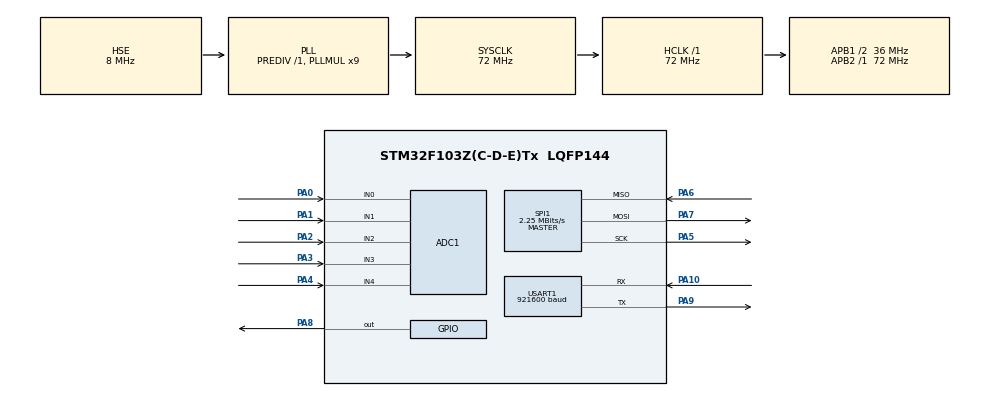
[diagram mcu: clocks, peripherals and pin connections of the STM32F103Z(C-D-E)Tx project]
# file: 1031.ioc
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ADC1.Channel-3\#ChannelRegularConversion=ADC_CHANNEL_1
ADC1.NbrOfConversionFlag=1
ADC1.Rank-3\#ChannelRegularConversion=1
ADC1.SamplingTime-3\#ChannelRegularConversion=ADC_SAMPLETIME_1CYCLE_5
ADC1.master=1
Dma.ADC1.4.Direction=DMA_PERIPH_TO_MEMORY
Dma.ADC1.4.Instance=DMA1_Channel1
Dma.ADC1.4.MemDataAlignment=DMA_MDATAALIGN_HALFWORD
Dma.ADC1.4.MemInc=DMA_MINC_ENABLE
Dma.ADC1.4.Mode=DMA_CIRCULAR
Dma.ADC1.4.PeriphDataAlignment=DMA_PDATAALIGN_HALFWORD
Dma.ADC1.4.PeriphInc=DMA_PINC_DISABLE
Dma.ADC1.4.Priority=DMA_PRIORITY_LOW
Dma.Request0=USART1_RX
Dma.Request1=USART1_TX
Dma.Request2=SPI1_RX
Dma.Request3=SPI1_TX
Dma.Request4=ADC1
Dma.SPI1_RX.2.Direction=DMA_PERIPH_TO_MEMORY
Dma.SPI1_RX.2.Instance=DMA1_Channel2
Dma.SPI1_RX.2.MemDataAlignment=DMA_MDATAALIGN_BYTE
Dma.SPI1_RX.2.MemInc=DMA_MINC_ENABLE
Dma.SPI1_RX.2.Mode=DMA_NORMAL
Dma.SPI1_RX.2.PeriphDataAlignment=DMA_PDATAALIGN_BYTE
Dma.SPI1_RX.2.PeriphInc=DMA_PINC_DISABLE
Dma.SPI1_RX.2.Priority=DMA_PRIORITY_LOW
Dma.SPI1_TX.3.Direction=DMA_MEMORY_TO_PERIPH
Dma.SPI1_TX.3.Instance=DMA1_Channel3
Dma.SPI1_TX.3.MemDataAlignment=DMA_MDATAALIGN_BYTE
Dma.SPI1_TX.3.MemInc=DMA_MINC_ENABLE
Dma.SPI1_TX.3.Mode=DMA_NORMAL
Dma.SPI1_TX.3.PeriphDataAlignment=DMA_PDATAALIGN_BYTE
Dma.SPI1_TX.3.PeriphInc=DMA_PINC_DISABLE
Dma.SPI1_TX.3.Priority=DMA_PRIORITY_LOW
Dma.USART1_RX.0.Direction=DMA_PERIPH_TO_MEMORY
Dma.USART1_RX.0.Instance=DMA1_Channel5
Dma.USART1_RX.0.MemDataAlignment=DMA_MDATAALIGN_BYTE
Dma.USART1_RX.0.MemInc=DMA_MINC_ENABLE
Dma.USART1_RX.0.Mode=DMA_NORMAL
Dma.USART1_RX.0.PeriphDataAlignment=DMA_PDATAALIGN_BYTE
Dma.USART1_RX.0.PeriphInc=DMA_PINC_DISABLE
Dma.USART1_RX.0.Priority=DMA_PRIORITY_LOW
Dma.USART1_TX.1.Direction=DMA_MEMORY_TO_PERIPH
Dma.USART1_TX.1.Instance=DMA1_Channel4
Dma.USART1_TX.1.MemDataAlignment=DMA_MDATAALIGN_BYTE
Dma.USART1_TX.1.MemInc=DMA_MINC_ENABLE
Dma.USART1_TX.1.Mode=DMA_NORMAL
Dma.USART1_TX.1.PeriphDataAlignment=DMA_PDATAALIGN_BYTE
Dma.USART1_TX.1.PeriphInc=DMA_PINC_DISABLE
Dma.USART1_TX.1.Priority=DMA_PRIORITY_LOW
Mcu.Family=STM32F1
Mcu.Name=STM32F103Z(C-D-E)Tx
Mcu.Package=LQFP144
NVIC.DMA1_Channel1_IRQn=true\:0\:0\:false\:false\:true\:false
NVIC.DMA1_Channel2_IRQn=true\:0\:0\:false\:false\:true\:false
NVIC.DMA1_Channel3_IRQn=true\:0\:0\:false\:false\:true\:false
NVIC.DMA1_Channel4_IRQn=true\:0\:0\:false\:false\:true\:false
NVIC.DMA1_Channel5_IRQn=true\:0\:0\:false\:false\:true\:false
NVIC.PriorityGroup=NVIC_PRIORITYGROUP_4
NVIC.SPI1_IRQn=true\:0\:0\:false\:false\:true\:true
NVIC.USART1_IRQn=true\:0\:0\:false\:false\:true\:true
OSC_IN.Mode=HSE-External-Oscillator
OSC_IN.Signal=RCC_OSC_IN
OSC_OUT.Mode=HSE-External-Oscillator
OSC_OUT.Signal=RCC_OSC_OUT
PA0-WKUP.Signal=ADCx_IN0
PA1.Signal=ADCx_IN1
PA10.Mode=Asynchronous
PA10.Signal=USART1_RX
PA13.Mode=Trace_Asynchronous_SW
PA13.Signal=SYS_JTMS-SWDIO
PA14.Mode=Trace_Asynchronous_SW
PA14.Signal=SYS_JTCK-SWCLK
PA2.Signal=ADCx_IN2
PA3.Signal=ADCx_IN3
PA4.Signal=ADCx_IN4
PA5.Mode=Full_Duplex_Master
PA5.Signal=SPI1_SCK
PA6.Mode=Full_Duplex_Master
PA6.Signal=SPI1_MISO
PA7.Mode=Full_Duplex_Master
PA7.Signal=SPI1_MOSI
PA8.Signal=GPIO_Output
PA9.Mode=Asynchronous
PA9.Signal=USART1_TX
PB3.Mode=Trace_Asynchronous_SW
PB3.Signal=SYS_JTDO-TRACESWO
ProjectManager.HeapSize=0x200
ProjectManager.StackSize=0x400
ProjectManager.TargetToolchain=MDK-ARM V5
RCC.ADCPresc=RCC_ADCPCLK2_DIV6
RCC.AHBFreq_Value=72000000
RCC.APB1CLKDivider=RCC_HCLK_DIV2
RCC.APB1Freq_Value=36000000
RCC.APB1TimFreq_Value=72000000
RCC.APB2Freq_Value=72000000
RCC.APB2TimFreq_Value=72000000
RCC.HCLKFreq_Value=72000000
RCC.PLLMUL=RCC_PLL_MUL9
RCC.PLLSourceVirtual=RCC_PLLSOURCE_HSE
RCC.SYSCLKFreq_VALUE=72000000
RCC.SYSCLKSource=RCC_SYSCLKSOURCE_PLLCLK
RCC.USBFreq_Value=72000000
SH.ADCx_IN0.0=ADC1_IN0,IN0
SH.ADCx_IN1.0=ADC1_IN1,IN1
SH.ADCx_IN2.0=ADC1_IN2,IN2
SH.ADCx_IN3.0=ADC1_IN3,IN3
SH.ADCx_IN4.0=ADC1_IN4,IN4
SPI1.BaudRatePrescaler=SPI_BAUDRATEPRESCALER_32
SPI1.CLKPhase=SPI_PHASE_2EDGE
SPI1.CLKPolarity=SPI_POLARITY_HIGH
SPI1.CalculateBaudRate=2.25 MBits/s
SPI1.Direction=SPI_DIRECTION_2LINES
SPI1.FirstBit=SPI_FIRSTBIT_MSB
SPI1.Mode=SPI_MODE_MASTER
SPI1.VirtualType=VM_MASTER
STMicroelectronics.X-CUBE-MEMS1.5.2.1.BoardOoComponentJjMEMS.apiComponent0=Board Extension\:IKS01A2
STMicroelectronics.X-CUBE-MEMS1.5.2.1.BoardOoComponentJjMEMS.apiDoc0=Documentation/X_CUBE_MEMS1.chm
STMicroelectronics.X-CUBE-MEMS1.5.2.1.BoardOoComponentJjMEMS.cmp_version0=5.2.1
STMicroelectronics.X-CUBE-MEMS1.5.2.1.BoardOoComponentJjMEMS.component0=Board Component
STMicroelectronics.X-CUBE-MEMS1.5.2.1.BoardOoComponentJjMEMS.description0=MEMS library for custom boards,LSM6DSL component driver
STMicroelectronics.X-CUBE-MEMS1.5.2.1.BoardOoComponentJjMEMS.diagnostic0=This component should operate correctly.
STMicroelectronics.X-CUBE-MEMS1.5.2.1.BoardOoComponentJjMEMS.documentation0=Documentation/STMicroelectronics.X-CUBE-MEMS1_GettingStarted.pdf
STMicroelectronics.X-CUBE-MEMS1.5.2.1.BoardOoComponentJjMEMS.group0=AccGyr
STMicroelectronics.X-CUBE-MEMS1.5.2.1.BoardOoComponentJjMEMS.paramName0=MEMSCcBoardOoComponentJjAccGyrJjLSM6DSL
STMicroelectronics.X-CUBE-MEMS1.5.2.1.BoardOoComponentJjMEMS.sevirity0=none
STMicroelectronics.X-CUBE-MEMS1.5.2.1.BoardOoComponentJjMEMS.sub-group0=LSM6DSL
STMicroelectronics.X-CUBE-MEMS1.5.2.1.BoardOoComponentJjMEMS.variant0=SPI
STMicroelectronics.X-CUBE-MEMS1.5.2.1.BoardOoComponentJjMEMS_apiSize=1
STMicroelectronics.X-CUBE-MEMS1.5.2.1.BoardOoComponentJjMEMS_bundle=MEMS
STMicroelectronics.X-CUBE-MEMS1.5.2.1.BoardOoComponentJjMEMS_class=BoardOoComponent
STMicroelectronics.X-CUBE-MEMS1.5.2.1.BoardOoComponentJjMEMS_name=X-CUBE-MEMS1
STMicroelectronics.X-CUBE-MEMS1.5.2.1.BoardOoComponentJjMEMS_size=1
STMicroelectronics.X-CUBE-MEMS1.5.2.1.BoardOoComponentJjMEMS_vendor=STMicroelectronics
STMicroelectronics.X-CUBE-MEMS1.5.2.1.BoardOoComponentJjMEMS_version=5.2.1
STMicroelectronics.X-CUBE-MEMS1.5.2.1.MEMSCcBoardOoComponentJjAccGyrJjLSM6DSL=SPI
STMicroelectronics.X-CUBE-MEMS1.5.2.1_BoardOoComponentJjMEMS_RteComponent0=\#define LSM6DSL_ACCGYR_SPI
STMicroelectronics.X-CUBE-MEMS1.5.2.1_BoardOoComponentJjMEMS_RteComponentsize=1
STMicroelectronics.X-CUBE-MEMS1.5.2.1_BoardOoExtensionJjMEMS_RteComponentsize=0
STMicroelectronics.X-CUBE-MEMS1.5.2.1_BoardOoSupportJjSTM32CubeIiCustomIiBSPIiDrivers_RteComponentsize=0
STMicroelectronics.X-CUBE-MEMS1.5.2.1_DeviceJjApplication_RteComponentsize=0
STMicroelectronics.X-CUBE-MEMS1.5.2.1_description=Drivers and sample applications for MEMS components
STMicroelectronics.X-CUBE-MEMS1.5.2.1_license=en.DM00367782.pdf
USART1.BaudRate=921600
USART1.VirtualMode=VM_ASYNC
board=custom

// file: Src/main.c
/* USER CODE BEGIN Header */
/**
  ******************************************************************************
  * @file           : main.c
  * @brief          : Main program body
  ******************************************************************************
  * This notice applies to any and all portions of this file
  * that are not between comment pairs USER CODE BEGIN and
  * USER CODE END. Other portions of this file, whether
  * inserted by the user or by software development tools
  * are owned by their respective copyright owners.
  *
  * Copyright (c) 2019 STMicroelectronics International N.V.
  * All rights reserved.
  *
  * Redistribution and use in source and binary forms, with or without
  * modification, are permitted, provided that the following conditions are met:
  *
  * 1. Redistribution of source code must retain the above copyright notice,
  *    this list of conditions and the following disclaimer.
  * 2. Redistributions in binary form must reproduce the above copyright notice,
  *    this list of conditions and the following disclaimer in the documentation
  *    and/or other materials provided with the distribution.
  * 3. Neither the name of STMicroelectronics nor the names of other
  *    contributors to this software may be used to endorse or promote products
  *    derived from this software without specific written permission.
  * 4. This software, including modifications and/or derivative works of this
  *    software, must execute solely and exclusively on microcontroller or
  *    microprocessor devices manufactured by or for STMicroelectronics.
  * 5. Redistribution and use of this software other than as permitted under
  *    this license is void and will automatically terminate your rights under
  *    this license.
  *
  * THIS SOFTWARE IS PROVIDED BY STMICROELECTRONICS AND CONTRIBUTORS "AS IS"
  * AND ANY EXPRESS, IMPLIED OR STATUTORY WARRANTIES, INCLUDING, BUT NOT
  * LIMITED TO, THE IMPLIED WARRANTIES OF MERCHANTABILITY, FITNESS FOR A
  * PARTICULAR PURPOSE AND NON-INFRINGEMENT OF THIRD PARTY INTELLECTUAL PROPERTY
  * RIGHTS ARE DISCLAIMED TO THE FULLEST EXTENT PERMITTED BY LAW. IN NO EVENT
  * SHALL STMICROELECTRONICS OR CONTRIBUTORS BE LIABLE FOR ANY DIRECT, INDIRECT,
  * INCIDENTAL, SPECIAL, EXEMPLARY, OR CONSEQUENTIAL DAMAGES (INCLUDING, BUT NOT
  * LIMITED TO, PROCUREMENT OF SUBSTITUTE GOODS OR SERVICES; LOSS OF USE, DATA,
  * OR PROFITS; OR BUSINESS INTERRUPTION) HOWEVER CAUSED AND ON ANY THEORY OF
  * LIABILITY, WHETHER IN CONTRACT, STRICT LIABILITY, OR TORT (INCLUDING
  * NEGLIGENCE OR OTHERWISE) ARISING IN ANY WAY OUT OF THE USE OF THIS SOFTWARE,
  * EVEN IF ADVISED OF THE POSSIBILITY OF SUCH DAMAGE.
  *
  ******************************************************************************
  */
/* USER CODE END Header */

#include "main.h"

/* USER CODE BEGIN Includes */
#include "stdio.h"
#include "string.h"
#include "drv_lsm6dsl.h"
#include <rtthread.h>
#include "led.h"

//#include "mems_conf.h"

/* USER CODE END Includes */

/* USER CODE BEGIN PD */
#define USART1_TRANS_END_EVENT (0x01 << 0)//设置事件掩码的位 0

/* USER CODE END PD */

ADC_HandleTypeDef hadc1;
DMA_HandleTypeDef hdma_adc1;

SPI_HandleTypeDef hspi1;
DMA_HandleTypeDef hdma_spi1_rx;
DMA_HandleTypeDef hdma_spi1_tx;

UART_HandleTypeDef huart1;
DMA_HandleTypeDef hdma_usart1_rx;
DMA_HandleTypeDef hdma_usart1_tx;

/* USER CODE BEGIN PV */
//extern SPI_HandleTypeDef hspi1;

   char str[100];
volatile uint8_t rx_len=0;                            //接收数据长度
volatile uint8_t recv_end_flag=0;                     //接收完成标记位
uint8_t rx_buffer[BUFFER_SIZE]={0},spi_rx_buffer[100],spi_tx_buffer[100];   //接收数据缓存
 long usart1_send_complete_flag=0;
 /* 定义事件控制块(句柄) */
static rt_event_t test_event = RT_NULL;
/* USER CODE END PV */

void SystemClock_Config(void);
static void MX_GPIO_Init(void);
static void MX_DMA_Init(void);
static void MX_USART1_UART_Init(void);
static void MX_SPI1_Init(void);
static void MX_ADC1_Init(void);

/* USER CODE BEGIN 0 */
//void HAL_UART_TxCpltCallback_NORMAL(UART_HandleTypeDef *UartHandle){
////	if(UartHandle == &huart1)
//usart1_send_complete_flag=0;
//}
//void HAL_UART_TxCpltCallback (UART_HandleTypeDef *UartHandle){
////	if(UartHandle == &huart1)
//usart1_send_complete_flag=0;
//}
void HAL_UART_TxCpltCallback(UART_HandleTypeDef *huart)
{
				usart1_send_complete_flag=0;
rt_event_send(test_event,USART1_TRANS_END_EVENT);
}
void DMA_Usart_Send(uint8_t *buf,uint8_t len)//串口发送封装
{
//    while (HAL_DMA_GetState(&hdma_usart1_tx) != HAL_DMA_STATE_READY){}
//      while (0!= usart1_send_complete_flag){}

//    while ((hdma_usart1_tx.Instance->CNDTR)>0);
		rt_uint32_t recved;
HAL_UART_Transmit_DMA(&huart1, buf,len);

	  rt_event_recv(test_event, /* 事件对象句柄 */
  USART1_TRANS_END_EVENT,/* 接收线程感兴趣的事件 */
  RT_EVENT_FLAG_CLEAR,/* 接收选项 */
  RT_WAITING_FOREVER,/* 指定超时事件,一直等 */
  &recved); /* 指向接收到的事件 */
  if (recved == (USART1_TRANS_END_EVENT)) {
        rt_hw_led_on();
		  rt_kprintf("事件接收成功！ \n\n");
	}
	else{
	        rt_hw_led_off();
		  rt_kprintf("事件接受失败！ \n\n");

	}

//      	while (huart1.gState==HAL_UART_STATE_BUSY_TX){;	}
//				usart1_send_complete_flag=1;

}

void HAL_UART_RxCpltCallback(UART_HandleTypeDef *UartHandle){

     HAL_UART_Transmit_DMA(&huart1,rx_buffer,sizeof(rx_buffer)-1);//可以通过DMA把数据发出去

    HAL_UART_Receive_DMA(&huart1, (uint8_t *)rx_buffer, sizeof(rx_buffer)-1);    //重新使能接收
}

/* USER CODE END 0 */

int main(void)
{

  /* MCU Configuration--------------------------------------------------------*/

  /* Reset of all peripherals, Initializes the Flash interface and the Systick. */
  HAL_Init();

  /* Configure the system clock */
  SystemClock_Config();

  /* Initialize all configured peripherals */
  MX_GPIO_Init();
  MX_DMA_Init();
  MX_USART1_UART_Init();
  MX_SPI1_Init();
  MX_ADC1_Init();
  /* USER CODE BEGIN 2 */
HAL_UART_Receive_DMA(&huart1, (uint8_t *)rx_buffer, sizeof(rx_buffer)-1);//qi启动usart receive

//sprintf(str,"begin %d \r\n",1);
//DMA_Usart_Send((uint8_t*)str,30);
//sprintf(str,"begin %d \r\n",2);
//DMA_Usart_Send((uint8_t*)str,30);

//		int16_t alldata[10]={0};

//lsm6dsl_IMU_init();
//long num=0;
  /* USER CODE END 2 */

  /* Infinite loop */
  /* USER CODE BEGIN WHILE */
//  while (1)
  {

//lsm6dsl_get_AllData(alldata);
//sprintf(str,"alldata \t%d\t%d\t%d\t%d\t%d\t%d\t%d\t%ld \r\n",
//		alldata[0],alldata[1],alldata[2],alldata[3],alldata[4],alldata[5],alldata[6],num++);
//DMA_Usart_Send((uint8_t*)str,strlen(str));
//				for(long i=0xfff;i>0;i--);
    /* USER CODE END WHILE */

    /* USER CODE BEGIN 3 */
  }
	/* 创建一个事件 */

  /* USER CODE END 3 */
}

void SystemClock_Config(void)
{
  RCC_OscInitTypeDef RCC_OscInitStruct = {0};
  RCC_ClkInitTypeDef RCC_ClkInitStruct = {0};
  RCC_PeriphCLKInitTypeDef PeriphClkInit = {0};

  /**Initializes the CPU, AHB and APB busses clocks
  */
  RCC_OscInitStruct.OscillatorType = RCC_OSCILLATORTYPE_HSE;
  RCC_OscInitStruct.HSEState = RCC_HSE_ON;
  RCC_OscInitStruct.HSEPredivValue = RCC_HSE_PREDIV_DIV1;
  RCC_OscInitStruct.HSIState = RCC_HSI_ON;
  RCC_OscInitStruct.PLL.PLLState = RCC_PLL_ON;
  RCC_OscInitStruct.PLL.PLLSource = RCC_PLLSOURCE_HSE;
  RCC_OscInitStruct.PLL.PLLMUL = RCC_PLL_MUL9;
  if (HAL_RCC_OscConfig(&RCC_OscInitStruct) != HAL_OK)
  {
    Error_Handler();
  }
  /**Initializes the CPU, AHB and APB busses clocks
  */
  RCC_ClkInitStruct.ClockType = RCC_CLOCKTYPE_HCLK|RCC_CLOCKTYPE_SYSCLK
                              |RCC_CLOCKTYPE_PCLK1|RCC_CLOCKTYPE_PCLK2;
  RCC_ClkInitStruct.SYSCLKSource = RCC_SYSCLKSOURCE_PLLCLK;
  RCC_ClkInitStruct.AHBCLKDivider = RCC_SYSCLK_DIV1;
  RCC_ClkInitStruct.APB1CLKDivider = RCC_HCLK_DIV2;
  RCC_ClkInitStruct.APB2CLKDivider = RCC_HCLK_DIV1;

  if (HAL_RCC_ClockConfig(&RCC_ClkInitStruct, FLASH_LATENCY_2) != HAL_OK)
  {
    Error_Handler();
  }
  PeriphClkInit.PeriphClockSelection = RCC_PERIPHCLK_ADC;
  PeriphClkInit.AdcClockSelection = RCC_ADCPCLK2_DIV6;
  if (HAL_RCCEx_PeriphCLKConfig(&PeriphClkInit) != HAL_OK)
  {
    Error_Handler();
  }
}

static void MX_ADC1_Init(void)
{

  ADC_ChannelConfTypeDef sConfig = {0};

  /**Common config
  */
  hadc1.Instance = ADC1;
  hadc1.Init.ScanConvMode = ADC_SCAN_DISABLE;
  hadc1.Init.ContinuousConvMode = DISABLE;
  hadc1.Init.DiscontinuousConvMode = DISABLE;
  hadc1.Init.ExternalTrigConv = ADC_SOFTWARE_START;
  hadc1.Init.DataAlign = ADC_DATAALIGN_RIGHT;
  hadc1.Init.NbrOfConversion = 1;
  if (HAL_ADC_Init(&hadc1) != HAL_OK)
  {
    Error_Handler();
  }
  /**Configure Regular Channel
  */
  sConfig.Channel = ADC_CHANNEL_1;
  sConfig.Rank = ADC_REGULAR_RANK_1;
  sConfig.SamplingTime = ADC_SAMPLETIME_1CYCLE_5;
  if (HAL_ADC_ConfigChannel(&hadc1, &sConfig) != HAL_OK)
  {
    Error_Handler();
  }

}

static void MX_SPI1_Init(void)
{

  /* SPI1 parameter configuration*/
  hspi1.Instance = SPI1;
  hspi1.Init.Mode = SPI_MODE_MASTER;
  hspi1.Init.Direction = SPI_DIRECTION_2LINES;
  hspi1.Init.DataSize = SPI_DATASIZE_8BIT;
  hspi1.Init.CLKPolarity = SPI_POLARITY_HIGH;
  hspi1.Init.CLKPhase = SPI_PHASE_2EDGE;
  hspi1.Init.NSS = SPI_NSS_SOFT;
  hspi1.Init.BaudRatePrescaler = SPI_BAUDRATEPRESCALER_32;
  hspi1.Init.FirstBit = SPI_FIRSTBIT_MSB;
  hspi1.Init.TIMode = SPI_TIMODE_DISABLE;
  hspi1.Init.CRCCalculation = SPI_CRCCALCULATION_DISABLE;
  hspi1.Init.CRCPolynomial = 10;
  if (HAL_SPI_Init(&hspi1) != HAL_OK)
  {
    Error_Handler();
  }

}

static void MX_USART1_UART_Init(void)
{

  huart1.Instance = USART1;
  huart1.Init.BaudRate = 921600;
  huart1.Init.WordLength = UART_WORDLENGTH_8B;
  huart1.Init.StopBits = UART_STOPBITS_1;
  huart1.Init.Parity = UART_PARITY_NONE;
  huart1.Init.Mode = UART_MODE_TX_RX;
  huart1.Init.HwFlowCtl = UART_HWCONTROL_NONE;
  huart1.Init.OverSampling = UART_OVERSAMPLING_16;
  if (HAL_UART_Init(&huart1) != HAL_OK)
  {
    Error_Handler();
  }

}

static void MX_DMA_Init(void)
{
  /* DMA controller clock enable */
  __HAL_RCC_DMA1_CLK_ENABLE();

  /* DMA interrupt init */
  /* DMA1_Channel1_IRQn interrupt configuration */
  HAL_NVIC_SetPriority(DMA1_Channel1_IRQn, 0, 0);
  HAL_NVIC_EnableIRQ(DMA1_Channel1_IRQn);
  /* DMA1_Channel2_IRQn interrupt configuration */
  HAL_NVIC_SetPriority(DMA1_Channel2_IRQn, 0, 0);
  HAL_NVIC_EnableIRQ(DMA1_Channel2_IRQn);
  /* DMA1_Channel3_IRQn interrupt configuration */
  HAL_NVIC_SetPriority(DMA1_Channel3_IRQn, 0, 0);
  HAL_NVIC_EnableIRQ(DMA1_Channel3_IRQn);
  /* DMA1_Channel4_IRQn interrupt configuration */
  HAL_NVIC_SetPriority(DMA1_Channel4_IRQn, 0, 0);
  HAL_NVIC_EnableIRQ(DMA1_Channel4_IRQn);
  /* DMA1_Channel5_IRQn interrupt configuration */
  HAL_NVIC_SetPriority(DMA1_Channel5_IRQn, 0, 0);
  HAL_NVIC_EnableIRQ(DMA1_Channel5_IRQn);

}

static void MX_GPIO_Init(void)
{
  GPIO_InitTypeDef GPIO_InitStruct = {0};

  /* GPIO Ports Clock Enable */
  __HAL_RCC_GPIOA_CLK_ENABLE();
  __HAL_RCC_GPIOB_CLK_ENABLE();

  /*Configure GPIO pin Output Level */
  HAL_GPIO_WritePin(GPIOA, GPIO_PIN_8, GPIO_PIN_RESET);

  /*Configure GPIO pin : PA8 */
  GPIO_InitStruct.Pin = GPIO_PIN_8;
  GPIO_InitStruct.Mode = GPIO_MODE_OUTPUT_PP;
  GPIO_InitStruct.Pull = GPIO_NOPULL;
  GPIO_InitStruct.Speed = GPIO_SPEED_FREQ_LOW;
  HAL_GPIO_Init(GPIOA, &GPIO_InitStruct);

}

/* USER CODE BEGIN 4 */
void user_th_en(void*p){
	rt_uint32_t recved;
  test_event = rt_event_create("test_event",/* 事件标志组名字 */
  RT_IPC_FLAG_PRIO); /* 事件模式 FIFO(0x00)*/
  if (test_event != RT_NULL)
  rt_kprintf("事件创建成功！ \n\n");

//	rt_event_send(test_event,USART1_TRANS_END_EVENT);

//while(1)
	{
sprintf(str,"send event %d \r\n",2);
DMA_Usart_Send((uint8_t*)str,30);
rt_thread_delay(RT_TICK_PER_SECOND);
sprintf(str,"send event %d \r\n",3);
DMA_Usart_Send((uint8_t*)str,30);
rt_thread_delay(RT_TICK_PER_SECOND);
///* 等待接收事件标志 */
//  rt_event_recv(test_event, /* 事件对象句柄 */
//  USART1_TRANS_END_EVENT,/* 接收线程感兴趣的事件 */
//  RT_EVENT_FLAG_AND|RT_EVENT_FLAG_CLEAR,/* 接收选项 */
//  RT_WAITING_FOREVER,/* 指定超时事件,一直等 */
//  &recved); /* 指向接收到的事件 */
//  if (recved == (USART1_TRANS_END_EVENT)) {
//        rt_hw_led_on();
//		  rt_kprintf("事件接收成功！ \n\n");

//	}
//	else{
//	        rt_hw_led_off();
//		  rt_kprintf("事件接受失败！ \n\n");

//	}
}
}
int userinit(void){
 	rt_thread_t led_thread;

		    /* Create led thread */
    led_thread = rt_thread_create("user_th_en",
    		user_th_en, RT_NULL,
    		512, 23, 20);
    if(led_thread != RT_NULL)
    	rt_thread_startup(led_thread);
	return 0;
}
INIT_APP_EXPORT(userinit);

/* USER CODE END 4 */

void Error_Handler(void)
{
}

/************************ (C) COPYRIGHT STMicroelectronics *****END OF FILE****/
